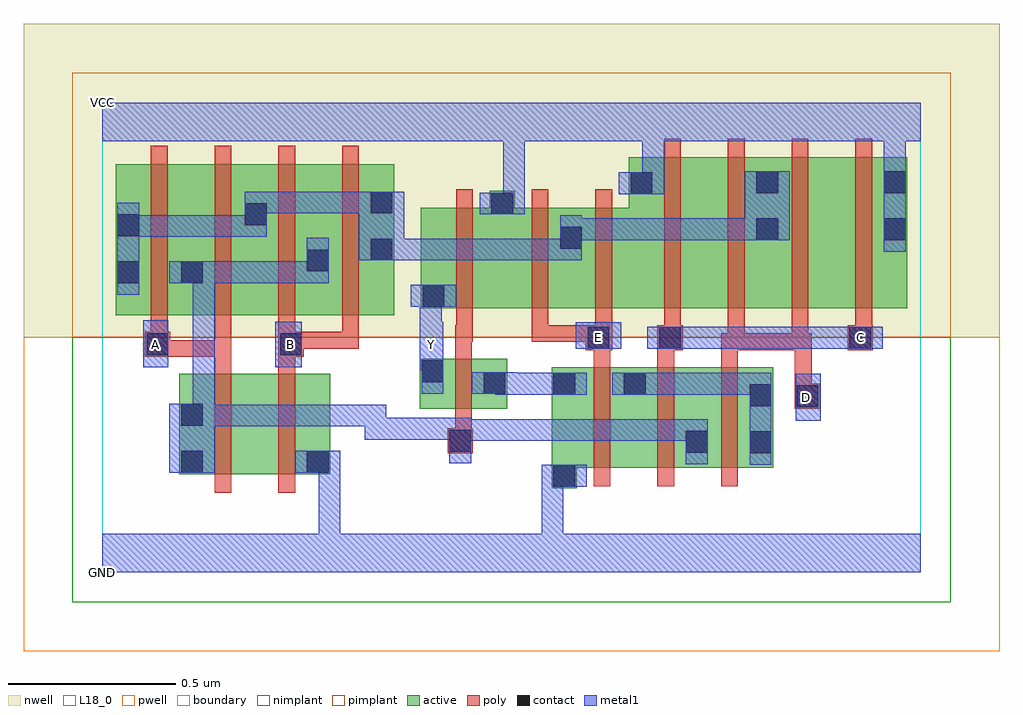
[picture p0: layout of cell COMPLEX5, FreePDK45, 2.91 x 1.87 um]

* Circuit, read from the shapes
.subckt COMPLEX5 A B C D E GND VCC Y
M1 n1 A n2 VSUBS nfet w=0.3u l=0.05u
M2 GND B n1 VSUBS nfet w=0.3u l=0.05u
M3 GND n2 Y VSUBS nfet w=0.15u l=0.05u
M4 n3 E GND VSUBS nfet w=0.3u l=0.05u
M5 n2 C n3 VSUBS nfet w=0.3u l=0.05u
M6 n3 D n2 VSUBS nfet w=0.3u l=0.05u
M7 n2 A n4 n5 pfet w=0.45u l=0.05u m=2
M8 n2 B n4 n5 pfet w=0.45u l=0.05u m=2
M9 VCC n2 Y n5 pfet w=0.3u l=0.05u
M10 n4 E VCC n5 pfet w=0.3u l=0.05u m=2
M11 n6 C VCC n5 pfet w=0.45u l=0.05u
M12 n4 D n6 n5 pfet w=0.45u l=0.05u
M13 n7 D n4 n5 pfet w=0.45u l=0.05u
M14 VCC C n7 n5 pfet w=0.45u l=0.05u
.ends

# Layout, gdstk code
import gdstk
lib = gdstk.Library(unit=1e-6, precision=1e-09)
def R(c, l, rs):  # rectangles x0, y0, x1, y1
    for r in rs: c.add(gdstk.rectangle(r[:2], r[2:], *l))
def A(c, l, x, y, w, h, nx, ny, dx, dy):  # array of equal rectangles
    R(c, l, [(x+i*dx, y+j*dy, x+i*dx+w, y+j*dy+h) for i in range(nx) for j in range(ny)])
active = (1, 0)
pwell = (2, 0)
nwell = (3, 0)
nimplant = (4, 0)
pimplant = (5, 0)
poly = (9, 0)
contact = (10, 0)
metal1 = (11, 0)
L18_0 = (18, 0)
boundary = (235, 0)

complex5 = lib.new_cell('COMPLEX5')
R(complex5, active, [(1.34,0.25,1.415,0.612), (0.23,0.292,0.305,0.592), (0.23,0.292,0.455,0.592), (0.455,0.292,0.68,0.592), (0.605,0.292,0.68,0.592), (1.34,0.312,1.625,0.612), (1.55,0.312,1.81,0.612), (1.735,0.312,2,0.612), (1.735,0.312,1.81,0.547), (1.55,0.345,1.625,0.6), (1.925,0.345,2,0.612), (0.947,0.487,1.207,0.637), (1.132,0.49,1.207,0.637), (0.947,0.495,1.022,0.637), (0.04,0.767,0.115,1.2), (0.04,0.767,0.305,1.217), (0.23,0.767,0.495,1.217), (0.23,0.767,0.305,1.07), (0.42,0.767,0.68,1.217), (0.605,0.767,0.87,1.217), (0.605,0.767,0.68,1.07), (0.795,0.767,0.87,1.2), (0.95,0.787,1.23,1.087), (0.95,0.787,1.025,1.055), (1.155,0.787,1.435,1.087), (1.36,0.787,1.645,1.087), (1.57,0.787,1.795,1.237), (1.795,0.787,2.02,1.237), (1.945,0.787,2.175,1.237), (2.175,0.787,2.4,1.237), (2.325,0.787,2.4,1.205), (1.36,0.855,1.435,1.055), (1.57,0.855,1.645,1.197), (0.42,0.857,0.495,1.2), (1.945,0.857,2.02,1.2), (1.155,0.885,1.23,1.137)])
R(complex5, pwell, [(-0.235,-0.235,2.675,0.7)])
R(complex5, nwell, [(-0.235,0.7,2.675,1.635)])
R(complex5, nimplant, [(-0.09,-0.09,2.53,0.7)])
R(complex5, pimplant, [(-0.09,0.7,2.53,1.49)])
A(complex5, poly, 1.465, 0.257, 0.05, 0.41, 3, 1, 0.19, 0)
A(complex5, poly, 1.465, 0.617, 0.05, 0.095, 3, 1, 0.19, 0)
A(complex5, poly, 0.145, 0.712, 0.05, 0.56, 4, 1, 0.19, 0)
A(complex5, poly, 1.675, 0.732, 0.05, 0.56, 4, 1, 0.19, 0)
R(complex5, poly, [(0.335,0.237,0.385,0.647), (0.525,0.237,0.575,0.647), (1.03,0.355,1.105,0.43), (1.052,0.38,1.102,0.482), (1.052,0.432,1.102,0.692), (2.065,0.487,2.14,0.562), (2.065,0.512,2.115,0.712), (0.335,0.597,0.385,0.692), (0.525,0.597,0.575,0.692), (0.127,0.642,0.202,0.717), (0.152,0.642,0.385,0.692), (0.335,0.642,0.385,0.762), (0.335,0.642,0.385,0.692), (0.335,0.642,0.385,0.692), (0.335,0.642,0.385,0.692), (0.525,0.642,0.6,0.717), (1.052,0.642,1.102,0.737), (1.442,0.662,1.52,0.737), (1.655,0.662,1.73,0.737), (1.845,0.662,1.915,0.712), (1.865,0.662,1.915,0.782), (1.865,0.662,2.105,0.712), (2.055,0.662,2.105,0.782), (2.055,0.662,2.105,0.712), (2.055,0.662,2.105,0.712), (2.055,0.662,2.105,0.712), (2.055,0.662,2.105,0.712), (2.055,0.662,2.115,0.712), (2.222,0.662,2.297,0.737), (0.145,0.667,0.195,0.762), (0.525,0.667,0.575,0.762), (0.55,0.667,0.765,0.717), (0.715,0.667,0.765,0.762), (0.715,0.667,0.765,0.717), (0.715,0.667,0.765,0.717), (0.715,0.667,0.765,0.717), (1.052,0.687,1.105,0.737), (1.055,0.687,1.105,0.782), (1.28,0.687,1.33,0.782), (1.28,0.687,1.33,0.737), (1.28,0.687,1.492,0.737), (1.442,0.687,1.492,0.737), (1.442,0.687,1.492,0.737), (1.47,0.687,1.52,0.782), (1.675,0.687,1.725,0.782), (2.245,0.687,2.295,0.782), (1.055,0.732,1.105,1.142), (1.28,0.732,1.33,1.142), (1.47,0.732,1.52,1.142)])
R(complex5, contact, [(1.345,0.255,1.41,0.32), (0.235,0.297,0.3,0.362), (0.61,0.297,0.675,0.362), (1.93,0.355,1.995,0.42), (1.74,0.357,1.805,0.422), (1.035,0.36,1.1,0.425), (0.235,0.437,0.3,0.502), (2.07,0.492,2.135,0.557), (1.93,0.495,1.995,0.56), (1.345,0.53,1.41,0.595), (1.555,0.53,1.62,0.595), (1.137,0.532,1.202,0.597), (0.952,0.567,1.017,0.632), (0.132,0.647,0.197,0.712), (0.53,0.647,0.595,0.712), (1.447,0.667,1.512,0.732), (1.66,0.667,1.725,0.732), (2.227,0.667,2.292,0.732), (0.955,0.792,1.02,0.857), (0.045,0.862,0.11,0.927), (0.235,0.862,0.3,0.927), (0.61,0.897,0.675,0.962), (0.8,0.93,0.865,0.995), (1.365,0.965,1.43,1.03), (1.95,0.99,2.015,1.055), (2.33,0.99,2.395,1.055), (0.045,1.002,0.11,1.067), (0.425,1.035,0.49,1.1), (1.16,1.067,1.225,1.132), (0.8,1.07,0.865,1.135), (1.575,1.127,1.64,1.192), (1.95,1.13,2.015,1.195), (2.33,1.13,2.395,1.195)])
R(complex5, metal1, [(0,0,2.44,0.115), (0.645,0.05,0.71,0.115), (0.645,0.05,0.71,0.115), (0.645,0.05,0.71,0.115), (0.645,0.05,0.71,0.115), (0.645,0.05,0.71,0.362), (1.31,0.05,1.375,0.115), (1.31,0.05,1.375,0.115), (1.31,0.05,1.375,0.115), (1.31,0.05,1.375,0.115), (1.31,0.05,1.375,0.32), (1.31,0.255,1.445,0.32), (0.2,0.297,0.335,0.502), (0.575,0.297,0.71,0.362), (1.93,0.32,1.995,0.595), (1.74,0.322,1.805,0.457), (1.035,0.325,1.1,0.46), (1.035,0.392,1.1,0.457), (1.035,0.392,1.1,0.457), (1.035,0.392,1.1,0.457), (1.035,0.392,1.1,0.457), (1.035,0.392,1.237,0.457), (1.172,0.392,1.237,0.457), (1.172,0.392,1.375,0.457), (1.31,0.392,1.375,0.457), (1.31,0.392,1.375,0.457), (1.31,0.392,1.375,0.457), (1.31,0.392,1.582,0.457), (1.517,0.392,1.582,0.457), (1.517,0.392,1.805,0.457), (1.74,0.392,1.805,0.457), (1.74,0.392,1.805,0.457), (0.782,0.395,0.847,0.46), (0.782,0.395,0.847,0.46), (0.782,0.395,0.847,0.46), (0.782,0.395,0.847,0.46), (0.782,0.395,0.847,0.46), (0.782,0.395,1.1,0.46), (0.782,0.395,0.847,0.5), (0.27,0.435,0.335,0.5), (0.27,0.435,0.335,0.5), (0.27,0.435,0.472,0.5), (0.407,0.435,0.472,0.5), (0.407,0.435,0.472,0.5), (0.407,0.435,0.472,0.5), (0.407,0.435,0.692,0.5), (0.627,0.435,0.692,0.5), (0.627,0.435,0.692,0.5), (0.627,0.435,0.692,0.5), (0.627,0.435,0.847,0.5), (0.782,0.435,0.847,0.5), (0.27,0.437,0.335,0.927), (2.067,0.452,2.142,0.592), (1.172,0.53,1.375,0.595), (1.172,0.53,1.237,0.597), (1.31,0.53,1.445,0.595), (1.52,0.53,1.655,0.595), (1.59,0.53,1.842,0.595), (1.777,0.53,1.842,0.595), (1.777,0.53,1.842,0.595), (1.777,0.53,1.842,0.595), (1.777,0.53,1.98,0.595), (1.915,0.53,1.98,0.595), (1.915,0.53,1.995,0.595), (0.952,0.532,1.017,0.667), (1.102,0.532,1.237,0.597), (1.172,0.532,1.237,0.597), (0.947,0.602,1.017,0.747), (0.952,0.602,1.017,0.667), (0.122,0.612,0.197,0.752), (0.515,0.612,0.595,0.747), (1.412,0.667,1.547,0.745), (1.625,0.667,1.76,0.732), (1.695,0.667,1.842,0.732), (1.777,0.667,1.842,0.732), (1.777,0.667,1.98,0.732), (1.915,0.667,1.98,0.732), (1.915,0.667,2.117,0.732), (2.052,0.667,2.117,0.732), (2.052,0.667,2.117,0.732), (2.052,0.667,2.117,0.732), (2.052,0.667,2.257,0.732), (2.192,0.667,2.257,0.732), (2.192,0.667,2.257,0.732), (2.192,0.667,2.327,0.732), (0.947,0.682,1.012,0.857), (0.92,0.792,1.055,0.857), (0.045,0.827,0.11,1.102), (0.2,0.862,0.335,0.927), (0.27,0.862,0.335,0.927), (0.27,0.862,0.335,0.927), (0.27,0.862,0.335,0.927), (0.27,0.862,0.335,0.927), (0.27,0.862,0.472,0.927), (0.407,0.862,0.472,0.927), (0.407,0.862,0.472,0.927), (0.407,0.862,0.472,0.927), (0.407,0.862,0.675,0.927), (0.61,0.862,0.675,0.997), (0.765,0.93,0.9,1.135), (0.835,0.93,0.9,0.995), (0.835,0.93,0.9,0.995), (0.835,0.93,1.052,0.995), (0.987,0.93,1.052,0.995), (0.987,0.93,1.237,0.995), (1.172,0.93,1.237,0.995), (1.172,0.93,1.237,0.995), (1.172,0.93,1.237,0.995), (1.172,0.93,1.237,0.995), (1.172,0.93,1.237,0.995), (1.172,0.93,1.43,0.995), (1.365,0.93,1.43,1.065), (2.33,0.955,2.395,1.23), (1.365,0.99,1.43,1.055), (1.365,0.99,1.43,1.055), (1.365,0.99,1.667,1.055), (1.602,0.99,1.667,1.055), (1.602,0.99,1.667,1.055), (1.602,0.99,1.667,1.055), (1.602,0.99,1.805,1.055), (1.74,0.99,1.805,1.055), (1.74,0.99,1.98,1.055), (1.915,0.99,1.98,1.055), (1.915,0.99,1.98,1.055), (1.915,0.99,2.05,1.195), (0.045,1,0.11,1.065), (0.045,1,0.11,1.065), (0.045,1,0.335,1.065), (0.27,1,0.335,1.065), (0.27,1,0.335,1.065), (0.27,1,0.335,1.065), (0.27,1,0.49,1.065), (0.425,1,0.49,1.135), (1.125,1.067,1.26,1.132), (1.195,1.067,1.26,1.132), (1.195,1.067,1.26,1.132), (1.195,1.067,1.26,1.35), (0.425,1.07,0.49,1.135), (0.425,1.07,0.49,1.135), (0.425,1.07,0.692,1.135), (0.627,1.07,0.692,1.135), (0.627,1.07,0.692,1.135), (0.627,1.07,0.692,1.135), (0.627,1.07,0.83,1.135), (1.54,1.127,1.675,1.192), (1.61,1.127,1.675,1.35), (2.33,1.165,2.395,1.35), (0,1.285,2.44,1.4)])
R(complex5, L18_0, [(0,0,2.44,0.115), (0.645,0.05,0.71,0.115), (0.645,0.05,0.71,0.115), (0.645,0.05,0.71,0.115), (0.645,0.05,0.71,0.115), (0.645,0.05,0.71,0.362), (1.31,0.05,1.375,0.115), (1.31,0.05,1.375,0.115), (1.31,0.05,1.375,0.115), (1.31,0.05,1.375,0.115), (1.31,0.05,1.375,0.32), (1.31,0.255,1.445,0.32), (0.575,0.297,0.71,0.362), (2.067,0.452,2.142,0.592), (2.067,0.487,2.132,0.552), (1.172,0.53,1.237,0.597), (1.172,0.53,1.375,0.595), (1.31,0.53,1.445,0.595), (0.952,0.532,1.017,0.667), (1.102,0.532,1.237,0.597), (1.172,0.532,1.237,0.597), (0.947,0.602,1.017,0.747), (0.952,0.602,1.017,0.667), (0.122,0.612,0.197,0.752), (0.515,0.612,0.595,0.747), (0.127,0.647,0.192,0.712), (0.527,0.647,0.592,0.712), (0.947,0.647,1.012,0.712), (1.412,0.667,1.547,0.745), (1.447,0.667,1.512,0.732), (1.625,0.667,1.76,0.732), (1.695,0.667,1.842,0.732), (1.777,0.667,1.842,0.732), (1.777,0.667,1.98,0.732), (1.915,0.667,1.98,0.732), (1.915,0.667,2.117,0.732), (2.052,0.667,2.117,0.732), (2.052,0.667,2.117,0.732), (2.052,0.667,2.117,0.732), (2.052,0.667,2.257,0.732), (2.192,0.667,2.257,0.732), (2.192,0.667,2.257,0.732), (2.192,0.667,2.327,0.732), (2.227,0.667,2.292,0.732), (0.947,0.682,1.012,0.857), (0.92,0.792,1.055,0.857), (2.33,0.955,2.395,1.23), (1.125,1.067,1.26,1.132), (1.195,1.067,1.26,1.132), (1.195,1.067,1.26,1.132), (1.195,1.067,1.26,1.35), (1.54,1.127,1.675,1.192), (1.61,1.127,1.675,1.35), (2.33,1.165,2.395,1.35), (0,1.285,2.44,1.4)])
R(complex5, boundary, [(0,0,2.44,1.4)])
complex5.add(gdstk.Label('A', (0.16,0.68), layer=11, texttype=0))
complex5.add(gdstk.Label('B', (0.56,0.68), layer=11, texttype=0))
complex5.add(gdstk.Label('C', (2.26,0.7), layer=11, texttype=0))
complex5.add(gdstk.Label('D', (2.1,0.52), layer=11, texttype=0))
complex5.add(gdstk.Label('E', (1.48,0.7), layer=11, texttype=0))
complex5.add(gdstk.Label('Y', (0.98,0.68), layer=11, texttype=0))
complex5.add(gdstk.Label('VCC', (0,1.4), layer=11, texttype=0))
complex5.add(gdstk.Label('GND', (0,0), layer=11, texttype=0))

lib.write_gds('COMPLEX5.gds')
